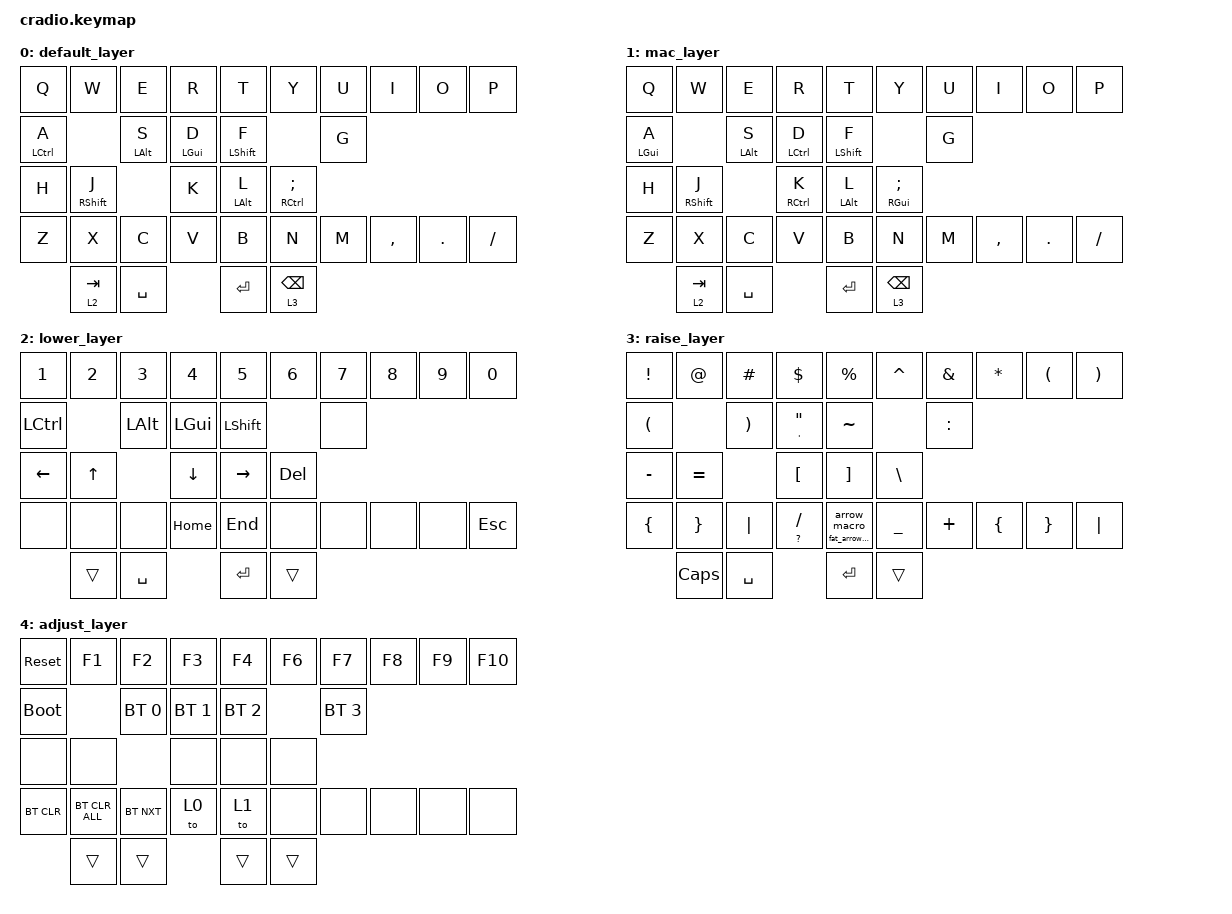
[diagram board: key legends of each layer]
#include <behaviors.dtsi>
#include <dt-bindings/zmk/keys.h>
#include <dt-bindings/zmk/bt.h>

/ {

    behaviors {

        hrm: hrm_hold_tap {
            compatible = "zmk,behavior-hold-tap";
            #binding-cells = <2>;
            flavor = "balanced";
            tapping-term-ms = <180>;
            quick-tap-ms = <180>;
            bindings = <&kp &kp>;
        };

        slash_qmark: slash_qmark_ht {
            compatible = "zmk,behavior-hold-tap";
            #binding-cells = <2>;
            flavor = "balanced";
            tapping-term-ms = <180>;
            bindings = <&kp &kp>;
        };

        quote_behavior: quote_ht {
            compatible = "zmk,behavior-hold-tap";
            #binding-cells = <2>;
            flavor = "balanced";
            tapping-term-ms = <180>;
            bindings = <&kp &kp>;
        };

        arrow_macro: arrow_macro_node {
            compatible = "zmk,behavior-macro";
            #binding-cells = <0>;
            bindings = <&kp MINUS &kp GT>;
        };

        fat_arrow_macro: fat_arrow_macro_node {
            compatible = "zmk,behavior-macro";
            #binding-cells = <0>;
            bindings = <&kp EQUAL &kp GT>;
        };

        arrow_behavior: arrow_ht {
            compatible = "zmk,behavior-hold-tap";
            #binding-cells = <2>;
            flavor = "balanced";
            tapping-term-ms = <180>;
            bindings = <&fat_arrow_macro &arrow_macro>;
        };

        /* ===== NOVOS MO HOLD-TAP ===== */

        mo_tab: mo_tab_hold_tap {
            compatible = "zmk,behavior-hold-tap";
            #binding-cells = <2>;
            flavor = "balanced";
            tapping-term-ms = <180>;
            bindings = <&mo &kp>;
        };

        mo_bspc: mo_bspc_hold_tap {
            compatible = "zmk,behavior-hold-tap";
            #binding-cells = <2>;
            flavor = "balanced";
            tapping-term-ms = <180>;
            bindings = <&mo &kp>;
        };
    };

    conditional_layers {
        compatible = "zmk,conditional-layers";
        tri_layer {
            if-layers = <2 3>;
            then-layer = <4>;
        };
    };

    keymap {
        compatible = "zmk,keymap";

        default_layer {
            bindings = <
                &kp Q    &kp W    &kp E    &kp R    &kp T        &kp Y    &kp U    &kp I    &kp O    &kp P
                &hrm LCTRL A  &hrm LALT S  &hrm LGUI D  &hrm LSHIFT F  &kp G
                &kp H    &hrm RSHIFT J  &kp K    &hrm LALT L   &hrm RCTRL SEMI
                &kp Z    &kp X    &kp C    &kp V    &kp B        &kp N    &kp M    &kp COMMA &kp DOT  &kp SLASH
                       &mo_tab 2 TAB   &kp SPACE    &kp ENTER   &mo_bspc 3 BSPC
            >;
        };

        mac_layer {
            bindings = <
                &kp Q    &kp W    &kp E    &kp R    &kp T        &kp Y    &kp U    &kp I    &kp O    &kp P
                &hrm LGUI A  &hrm LALT S  &hrm LCTRL D  &hrm LSHIFT F  &kp G
                &kp H    &hrm RSHIFT J  &hrm RCTRL K  &hrm LALT L  &hrm RGUI SEMI
                &kp Z    &kp X    &kp C    &kp V    &kp B        &kp N    &kp M    &kp COMMA &kp DOT  &kp SLASH
                       &mo_tab 2 TAB   &kp SPACE    &kp ENTER   &mo_bspc 3 BSPC
            >;
        };

        lower_layer {
            bindings = <
                &kp N1  &kp N2  &kp N3  &kp N4  &kp N5      &kp N6   &kp N7   &kp N8   &kp N9   &kp N0
                &kp LCTRL &kp LALT &kp LGUI &kp LSHIFT &none   &kp LEFT &kp UP &kp DOWN &kp RIGHT &kp DEL
                &none &none &none &kp HOME &kp END      &none &none &none &none &kp ESC
                       &trans &kp SPACE &kp ENTER &trans
            >;
        };

        /* ===== RAISE INVERTIDO ===== */

        raise_layer {
            bindings = <
                &kp EXCL &kp AT &kp HASH &kp DLLR &kp PRCNT      &kp CARET &kp AMPS &kp ASTRK &kp LPAR &kp RPAR
                &kp LPAR &kp RPAR &quote_behavior SQT DQT &kp TILDE &kp COLON      &kp MINUS &kp EQUAL &kp LBKT &kp RBKT &kp BSLH
                &kp LBRC &kp RBRC &kp PIPE &slash_qmark QUESTION SLASH &arrow_behavior 0 0      &kp UNDER &kp PLUS &kp LBRC &kp RBRC &kp PIPE
                       &kp CAPS &kp SPACE &kp ENTER &trans
            >;
        };

        adjust_layer {
            bindings = <
                &sys_reset  &kp F1 &kp F2 &kp F3 &kp F4        &kp F6 &kp F7 &kp F8 &kp F9 &kp F10
                &bootloader &bt BT_SEL 0  &bt BT_SEL 1 &bt BT_SEL 2 &bt BT_SEL 3    &none &none &none &none &none
                &bt BT_CLR  &bt BT_CLR_ALL  &bt BT_NXT &to 0 &to 1   &none &none &none &none &none
                       &trans &trans &trans &trans
            >;
        };
    };
};
